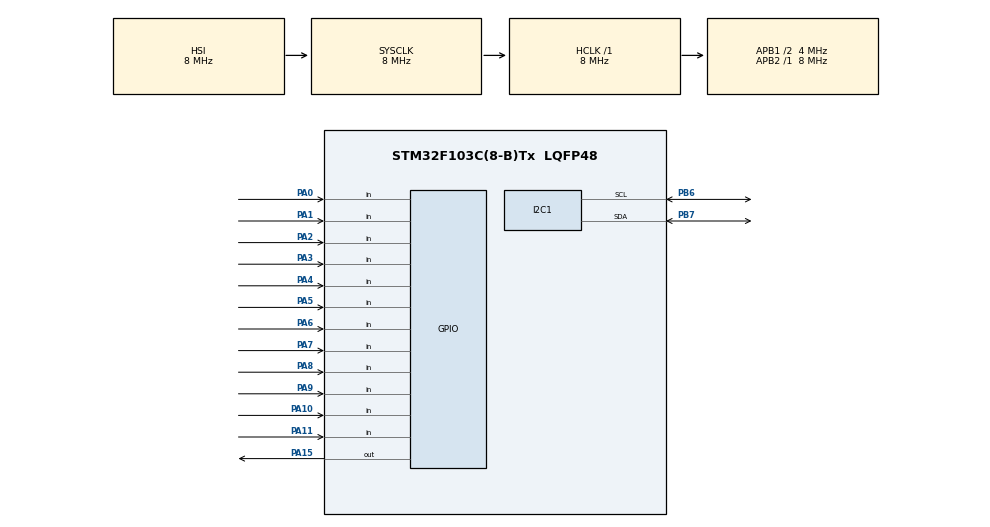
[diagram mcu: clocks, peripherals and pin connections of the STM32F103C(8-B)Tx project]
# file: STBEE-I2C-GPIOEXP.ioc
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I2C1.OwnAddress=0x60
Mcu.Family=STM32F1
Mcu.Name=STM32F103C(8-B)Tx
Mcu.Package=LQFP48
NVIC.PriorityGroup=NVIC_PRIORITYGROUP_4
PA0-WKUP.GPIO_PuPd=GPIO_PULLUP
PA0-WKUP.Signal=GPIO_Input
PA1.GPIO_PuPd=GPIO_PULLUP
PA1.Signal=GPIO_Input
PA10.GPIO_PuPd=GPIO_PULLUP
PA10.Signal=GPIO_Input
PA11.GPIO_PuPd=GPIO_PULLUP
PA11.Signal=GPIO_Input
PA13.Mode=Serial_Wire
PA13.Signal=SYS_JTMS-SWDIO
PA14.Mode=Serial_Wire
PA14.Signal=SYS_JTCK-SWCLK
PA15.GPIO_ModeDefaultOutputPP=GPIO_MODE_OUTPUT_OD
PA15.GPIO_PuPd=GPIO_PULLUP
PA15.Signal=GPIO_Output
PA2.GPIO_PuPd=GPIO_PULLUP
PA2.Signal=GPIO_Input
PA3.GPIO_PuPd=GPIO_PULLUP
PA3.Signal=GPIO_Input
PA4.GPIO_PuPd=GPIO_PULLUP
PA4.Signal=GPIO_Input
PA5.GPIO_PuPd=GPIO_PULLUP
PA5.Signal=GPIO_Input
PA6.GPIO_PuPd=GPIO_PULLUP
PA6.Signal=GPIO_Input
PA7.GPIO_PuPd=GPIO_PULLUP
PA7.Signal=GPIO_Input
PA8.GPIO_PuPd=GPIO_PULLUP
PA8.Signal=GPIO_Input
PA9.GPIO_PuPd=GPIO_PULLUP
PA9.Signal=GPIO_Input
PB6.Mode=I2C
PB6.Signal=I2C1_SCL
PB7.Mode=I2C
PB7.Signal=I2C1_SDA
ProjectManager.HeapSize=0x200
ProjectManager.StackSize=0x400
ProjectManager.TargetToolchain=STM32CubeIDE
RCC.AHBFreq_Value=8000000
RCC.APB1CLKDivider=RCC_HCLK_DIV2
RCC.APB1Freq_Value=4000000
RCC.APB1TimFreq_Value=8000000
RCC.APB2Freq_Value=8000000
RCC.APB2TimFreq_Value=8000000
RCC.HCLKFreq_Value=8000000
RCC.HSE_VALUE=12000000
RCC.PLLMUL=RCC_PLL_MUL6
RCC.SYSCLKFreq_VALUE=8000000
RCC.USBFreq_Value=24000000
board=custom

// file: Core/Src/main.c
/* USER CODE BEGIN Header */
/**
  ******************************************************************************
  * @file           : main.c
  * @brief          : Main program body
  ******************************************************************************
  * @attention
  *
  * Copyright (c) 2023 STMicroelectronics.
  * All rights reserved.
  *
  * This software is licensed under terms that can be found in the LICENSE file
  * in the root directory of this software component.
  * If no LICENSE file comes with this software, it is provided AS-IS.
  *
  ******************************************************************************
  */
/* USER CODE END Header */
#include "main.h"

/* USER CODE BEGIN Includes */
#include <stdio.h>
/* USER CODE END Includes */

/* USER CODE BEGIN PD */
#define COMMAND_SWSTAT 0x01
#define I2C_SLAVE_ADDR (0x60<<1)
/* USER CODE END PD */

I2C_HandleTypeDef hi2c1;

/* USER CODE BEGIN PV */
volatile uint8_t SwStatus = 0;

volatile uint32_t a_idr;

#define TXBUF_SIZE 3
uint8_t rxbuf = 0;
uint8_t txbuf[TXBUF_SIZE] = {0};

/* USER CODE END PV */

void SystemClock_Config(void);
static void MX_GPIO_Init(void);
static void MX_I2C1_Init(void);

/* USER CODE BEGIN 0 */
HAL_StatusTypeDef stat;

int _write(int file, char *ptr, int len)
{
  int DataIdx;
  for(DataIdx=0; DataIdx<len; DataIdx++)
  {
    ITM_SendChar(*ptr++);
  }
  return len;
}

/*CRC*/
uint8_t Fast_CRC_Cal8Bits(uint8_t crc, size_t Size, uint8_t *Buffer)
{
  static const uint8_t CrcTable[] = { // 0x31 Polynomial Table, 8-bit, sourcer32@gmail.com
		  0x00,0x31,0x62,0x53,0xC4,0xF5,0xA6,0x97,0xB9,0x88,0xDB,0xEA,0x7D,0x4C,0x1F,0x2E,
		  0x43,0x72,0x21,0x10,0x87,0xB6,0xE5,0xD4,0xFA,0xCB,0x98,0xA9,0x3E,0x0F,0x5C,0x6D,
		  0x86,0xB7,0xE4,0xD5,0x42,0x73,0x20,0x11,0x3F,0x0E,0x5D,0x6C,0xFB,0xCA,0x99,0xA8,
		  0xC5,0xF4,0xA7,0x96,0x01,0x30,0x63,0x52,0x7C,0x4D,0x1E,0x2F,0xB8,0x89,0xDA,0xEB,
		  0x3D,0x0C,0x5F,0x6E,0xF9,0xC8,0x9B,0xAA,0x84,0xB5,0xE6,0xD7,0x40,0x71,0x22,0x13,
		  0x7E,0x4F,0x1C,0x2D,0xBA,0x8B,0xD8,0xE9,0xC7,0xF6,0xA5,0x94,0x03,0x32,0x61,0x50,
		  0xBB,0x8A,0xD9,0xE8,0x7F,0x4E,0x1D,0x2C,0x02,0x33,0x60,0x51,0xC6,0xF7,0xA4,0x95,
		  0xF8,0xC9,0x9A,0xAB,0x3C,0x0D,0x5E,0x6F,0x41,0x70,0x23,0x12,0x85,0xB4,0xE7,0xD6,
		  0x7A,0x4B,0x18,0x29,0xBE,0x8F,0xDC,0xED,0xC3,0xF2,0xA1,0x90,0x07,0x36,0x65,0x54,
		  0x39,0x08,0x5B,0x6A,0xFD,0xCC,0x9F,0xAE,0x80,0xB1,0xE2,0xD3,0x44,0x75,0x26,0x17,
		  0xFC,0xCD,0x9E,0xAF,0x38,0x09,0x5A,0x6B,0x45,0x74,0x27,0x16,0x81,0xB0,0xE3,0xD2,
		  0xBF,0x8E,0xDD,0xEC,0x7B,0x4A,0x19,0x28,0x06,0x37,0x64,0x55,0xC2,0xF3,0xA0,0x91,
		  0x47,0x76,0x25,0x14,0x83,0xB2,0xE1,0xD0,0xFE,0xCF,0x9C,0xAD,0x3A,0x0B,0x58,0x69,
		  0x04,0x35,0x66,0x57,0xC0,0xF1,0xA2,0x93,0xBD,0x8C,0xDF,0xEE,0x79,0x48,0x1B,0x2A,
		  0xC1,0xF0,0xA3,0x92,0x05,0x34,0x67,0x56,0x78,0x49,0x1A,0x2B,0xBC,0x8D,0xDE,0xEF,
		  0x82,0xB3,0xE0,0xD1,0x46,0x77,0x24,0x15,0x3B,0x0A,0x59,0x68,0xFF,0xCE,0x9D,0xAC
  };

  while(Size--)
  {
    crc = crc ^ *Buffer++; // Apply Byte

    crc = CrcTable[crc & 0xFF]; // One round of 8-bits
  }

  return(crc);
}
/* USER CODE END 0 */

int main(void)
{

  /* MCU Configuration--------------------------------------------------------*/

  /* Reset of all peripherals, Initializes the Flash interface and the Systick. */
  HAL_Init();

  /* Configure the system clock */
  SystemClock_Config();

  /* Initialize all configured peripherals */
  MX_GPIO_Init();
  MX_I2C1_Init();
  /* USER CODE BEGIN 2 */
  HAL_Delay(500); //mainly for voltage stability
  /* USER CODE END 2 */

  /* Infinite loop */
  while (1)
  {

    /* USER CODE BEGIN 3 */

	txbuf[0] = (uint8_t)~GPIOA->IDR;
	txbuf[1] = (uint8_t)0x0F&(~(GPIOA->IDR>>8));
	txbuf[2] = Fast_CRC_Cal8Bits(0xFF, 2, txbuf);
	if(HAL_I2C_Slave_Transmit(&hi2c1, txbuf, TXBUF_SIZE, 100) != HAL_OK){
		;
	}
	HAL_GPIO_TogglePin(GPIOA, GPIO_PIN_15);
	//HAL_Delay(100);
  }
  /* USER CODE END 3 */
}

void SystemClock_Config(void)
{
  RCC_OscInitTypeDef RCC_OscInitStruct = {0};
  RCC_ClkInitTypeDef RCC_ClkInitStruct = {0};

  /** Initializes the RCC Oscillators according to the specified parameters
  * in the RCC_OscInitTypeDef structure.
  */
  RCC_OscInitStruct.OscillatorType = RCC_OSCILLATORTYPE_HSI;
  RCC_OscInitStruct.HSIState = RCC_HSI_ON;
  RCC_OscInitStruct.HSICalibrationValue = RCC_HSICALIBRATION_DEFAULT;
  RCC_OscInitStruct.PLL.PLLState = RCC_PLL_NONE;
  if (HAL_RCC_OscConfig(&RCC_OscInitStruct) != HAL_OK)
  {
    Error_Handler();
  }

  /** Initializes the CPU, AHB and APB buses clocks
  */
  RCC_ClkInitStruct.ClockType = RCC_CLOCKTYPE_HCLK|RCC_CLOCKTYPE_SYSCLK
                              |RCC_CLOCKTYPE_PCLK1|RCC_CLOCKTYPE_PCLK2;
  RCC_ClkInitStruct.SYSCLKSource = RCC_SYSCLKSOURCE_HSI;
  RCC_ClkInitStruct.AHBCLKDivider = RCC_SYSCLK_DIV1;
  RCC_ClkInitStruct.APB1CLKDivider = RCC_HCLK_DIV2;
  RCC_ClkInitStruct.APB2CLKDivider = RCC_HCLK_DIV1;

  if (HAL_RCC_ClockConfig(&RCC_ClkInitStruct, FLASH_LATENCY_0) != HAL_OK)
  {
    Error_Handler();
  }
}

static void MX_I2C1_Init(void)
{

  hi2c1.Instance = I2C1;
  hi2c1.Init.ClockSpeed = 100000;
  hi2c1.Init.DutyCycle = I2C_DUTYCYCLE_2;
  hi2c1.Init.OwnAddress1 = 192;
  hi2c1.Init.AddressingMode = I2C_ADDRESSINGMODE_7BIT;
  hi2c1.Init.DualAddressMode = I2C_DUALADDRESS_DISABLE;
  hi2c1.Init.OwnAddress2 = 0;
  hi2c1.Init.GeneralCallMode = I2C_GENERALCALL_DISABLE;
  hi2c1.Init.NoStretchMode = I2C_NOSTRETCH_DISABLE;
  if (HAL_I2C_Init(&hi2c1) != HAL_OK)
  {
    Error_Handler();
  }

}

static void MX_GPIO_Init(void)
{
  GPIO_InitTypeDef GPIO_InitStruct = {0};

  /* GPIO Ports Clock Enable */
  __HAL_RCC_GPIOA_CLK_ENABLE();
  __HAL_RCC_GPIOB_CLK_ENABLE();

  /*Configure GPIO pin Output Level */
  HAL_GPIO_WritePin(GPIOA, GPIO_PIN_15, GPIO_PIN_RESET);

  /*Configure GPIO pins : PA0 PA1 PA2 PA3
                           PA4 PA5 PA6 PA7
                           PA8 PA9 PA10 PA11 */
  GPIO_InitStruct.Pin = GPIO_PIN_0|GPIO_PIN_1|GPIO_PIN_2|GPIO_PIN_3
                          |GPIO_PIN_4|GPIO_PIN_5|GPIO_PIN_6|GPIO_PIN_7
                          |GPIO_PIN_8|GPIO_PIN_9|GPIO_PIN_10|GPIO_PIN_11;
  GPIO_InitStruct.Mode = GPIO_MODE_INPUT;
  GPIO_InitStruct.Pull = GPIO_PULLUP;
  HAL_GPIO_Init(GPIOA, &GPIO_InitStruct);

  /*Configure GPIO pin : PA15 */
  GPIO_InitStruct.Pin = GPIO_PIN_15;
  GPIO_InitStruct.Mode = GPIO_MODE_OUTPUT_OD;
  GPIO_InitStruct.Pull = GPIO_PULLUP;
  GPIO_InitStruct.Speed = GPIO_SPEED_FREQ_LOW;
  HAL_GPIO_Init(GPIOA, &GPIO_InitStruct);

}

void Error_Handler(void)
{
  __disable_irq();
  while (1)
  {
  }
}
